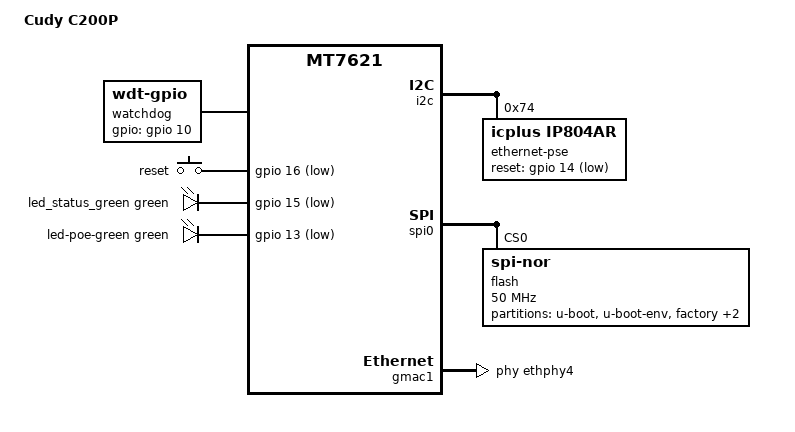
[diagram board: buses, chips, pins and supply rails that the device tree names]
// SPDX-License-Identifier: GPL-2.0-or-later OR MIT

#include "mt7621.dtsi"

#include <dt-bindings/gpio/gpio.h>
#include <dt-bindings/input/input.h>
#include <dt-bindings/leds/common.h>

/ {
	compatible = "cudy,c200p", "mediatek,mt7621-soc";
	model = "Cudy C200P";

	aliases {
		led-boot = &led_status_green;
		led-failsafe = &led_status_green;
		led-running = &led_status_green;
		label-mac-device = &gmac0;
	};

	chosen {
		bootargs = "console=ttyS0,115200";
	};

	watchdog {
		compatible = "linux,wdt-gpio";
		gpios = <&gpio 10 GPIO_ACTIVE_HIGH>;
		hw_algo = "toggle";
		hw_margin_ms = <1000>;
		always-running;
	};

	keys {
		compatible = "gpio-keys";

		reset {
			label = "reset";
			gpios = <&gpio 16 GPIO_ACTIVE_LOW>;
			linux,code = <KEY_RESTART>;
		};
	};

	leds {
		compatible = "gpio-leds";

		led_status_green: led-status-green {
			color = <LED_COLOR_ID_GREEN>;
			function = LED_FUNCTION_STATUS;
			gpios = <&gpio 15 GPIO_ACTIVE_LOW>;
		};

		led-poe-green {
			color = <LED_COLOR_ID_GREEN>;
			function = LED_FUNCTION_INDICATOR;
			gpios = <&gpio 13 GPIO_ACTIVE_LOW>;
		};
	};
};

&reg_vbus {
	/delete-property/ regulator-always-on;
	gpios = <&gpio 7 GPIO_ACTIVE_HIGH>;
	enable-active-high;
};

&i2c {
	status = "okay";

	ethernet-pse@74 {
		compatible = "icplus,ip804ar";
		reg = <0x74>;
		reset-gpios = <&gpio 14 GPIO_ACTIVE_LOW>;

		channels {
			#address-cells = <1>;
			#size-cells = <0>;

			pse_ch0: channel@0 {
				reg = <0>;
			};

			pse_ch1: channel@1 {
				reg = <1>;
			};

			pse_ch2: channel@2 {
				reg = <2>;
			};

			pse_ch3: channel@3 {
				reg = <3>;
			};
		};

		pse-pis {
			#address-cells = <1>;
			#size-cells = <0>;

			pse_pi0: pse-pi@0 {
				reg = <0>;
				#pse-cells = <0>;
				pairset-names = "alternative-a";
				pairsets = <&pse_ch0>;
			};

			pse_pi1: pse-pi@1 {
				reg = <1>;
				#pse-cells = <0>;
				pairset-names = "alternative-a";
				pairsets = <&pse_ch1>;
			};

			pse_pi2: pse-pi@2 {
				reg = <2>;
				#pse-cells = <0>;
				pairset-names = "alternative-a";
				pairsets = <&pse_ch2>;
			};

			pse_pi3: pse-pi@3 {
				reg = <3>;
				#pse-cells = <0>;
				pairset-names = "alternative-a";
				pairsets = <&pse_ch3>;
			};
		};
	};
};

&gmac0 {
	nvmem-cells = <&macaddr_bdinfo_de00 0>;
	nvmem-cell-names = "mac-address";
};

&spi0 {
	status = "okay";

	flash@0 {
		compatible = "jedec,spi-nor";
		reg = <0>;
		spi-max-frequency = <50000000>;

		partitions {
			compatible = "fixed-partitions";
			#address-cells = <1>;
			#size-cells = <1>;

			partition@0 {
				label = "u-boot";
				reg = <0x0 0x30000>;
				read-only;
			};

			partition@30000 {
				label = "u-boot-env";
				reg = <0x30000 0x10000>;
				read-only;
			};

			partition@40000 {
				label = "factory";
				reg = <0x40000 0x10000>;
				read-only;
			};

			partition@50000 {
				compatible = "denx,uimage";
				label = "firmware";
				reg = <0x50000 0xfa0000>;
			};

			partition@ff0000 {
				label = "bdinfo";
				reg = <0xff0000 0x10000>;
				read-only;

				nvmem-layout {
					compatible = "fixed-layout";
					#address-cells = <1>;
					#size-cells = <1>;

					macaddr_bdinfo_de00: macaddr@de00 {
						compatible = "mac-base";
						reg = <0xde00 0x6>;
						#nvmem-cell-cells = <1>;
					};
				};
			};
		};
	};
};

&state_default {
	gpio {
		groups = "jtag", "uart2", "uart3", "wdt";
		function = "gpio";
	};
};

&gmac1 {
	status = "okay";
	label = "wan";
	phy-handle = <&ethphy4>;

	nvmem-cells = <&macaddr_bdinfo_de00 1>;
	nvmem-cell-names = "mac-address";
};

&ethphy0 {
	pses = <&pse_pi0>;
};

&ethphy1 {
	pses = <&pse_pi1>;
};

&ethphy2 {
	pses = <&pse_pi2>;
};

&ethphy3 {
	pses = <&pse_pi3>;
};

&ethphy4 {
	/delete-property/ interrupts;
};

&switch0 {
	ports {
		port@0 {
			status = "okay";
			label = "lan5";
		};

		port@1 {
			status = "okay";
			label = "lan4";
		};

		port@2 {
			status = "okay";
			label = "lan3";
		};

		port@3 {
			status = "okay";
			label = "lan2";
		};
	};
};
